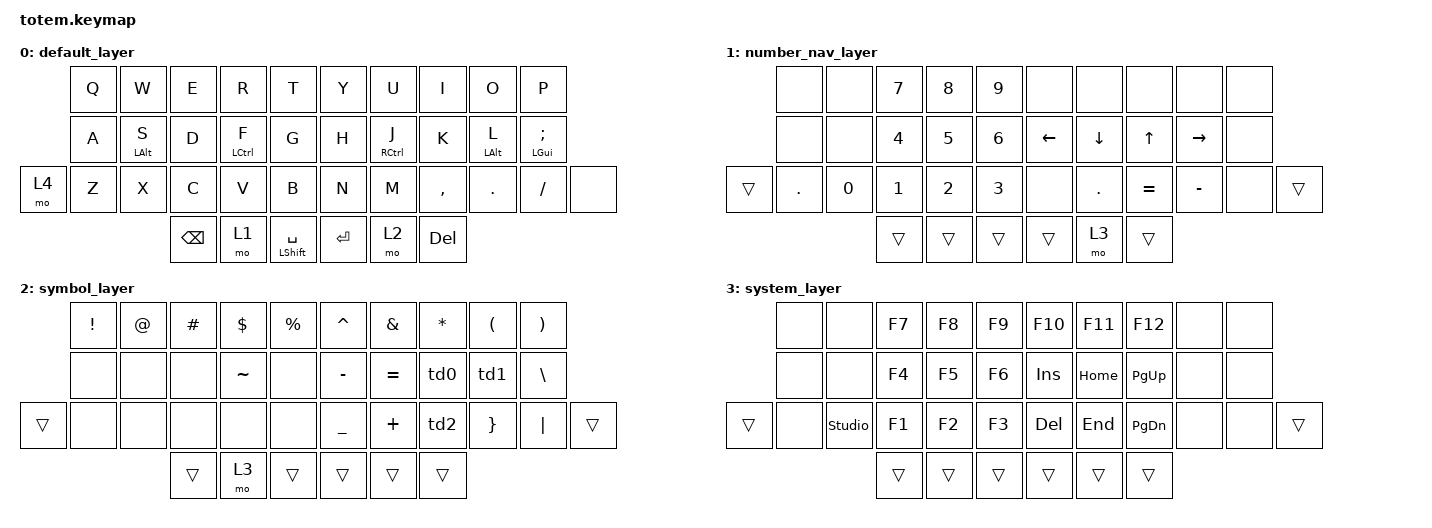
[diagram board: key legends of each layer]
//
//                                                        ▀▀▀▀▀     ▀▀▀▀▀          ▀▀█▀▀
//                                                        ▄▀▀▀▄  ▄  ▄▀▀▀▄  ▄  ▄▀▀▀▄  █  ▄▀▀▀▄
//                                                        █   █  █  █   █  █  █   █  █  █   █
//                                                         ▀▀▀   █   ▀▀▀   █   ▀▀▀   ▀   ▀▀▀
//                                                               █      ▄▄▄█▄▄▄    █   █  
//                                                               ▀      █  █  █     █▄█
//                                                             ▀▀▀▀▀    █  █  █      ▀
//                                                                      ▀  ▀  ▀
//
// ▄▄▄▄▄▄▄▄▄▄▄▄▄▄▄▄▄▄▄▄▄▄▄▄▄▄▄▄▄▄▄▄▄▄▄▄▄▄▄▄▄▄▄▄▄▄▄▄▄▄▄▄▄▄▄▄▄▄▄▄▄▄▄▄▄▄▄▄▄▄▄▄▄▄▄▄▄▄▄▄▄▄▄▄▄▄▄▄▄▄▄▄▄▄▄▄▄▄▄▄▄▄▄▄▄▄▄▄▄▄▄▄▄▄▄▄▄▄▄▄▄▄▄▄▄▄▄▄▄▄▄▄▄▄▄▄▄▄▄▄▄▄▄▄▄▄▄▄▄
       

#include <behaviors.dtsi>
#include <dt-bindings/zmk/keys.h>
#include <dt-bindings/zmk/bt.h>


/ {
        combos {
                compatible = "zmk,combos";
                combo_esc {
                        timeout-ms = <50>;
                        key-positions = <16 17>;
                        bindings = <&kp ESC>;
                };
                combo_tab {
                        timeout-ms = <50>;
                        key-positions = <10 11>;
                        bindings = <&kp TAB>;
                };
        };
        behaviors {
                td0: open_parent_mod_tap {
                        compatible = "zmk,behavior-tap-dance";
                        #binding-cells = <0>;
                        tapping-term-ms = <400>;
                        bindings = <&kp LPAR>, <&kp LBKT>, <&kp LBRC>;
                };
                td1: close_parent_mod_tap {
                        compatible = "zmk,behavior-tap-dance";
                        #binding-cells = <0>;
                        tapping-term-ms = <400>;
                        bindings = <&kp RPAR>, <&kp RBKT>, <&kp RBRC>;
                };
                td2: quote_mod_tap {
                        compatible = "zmk,behavior-tap-dance";
                        #binding-cells = <0>;
                        tapping-term-ms = <400>;
                        bindings = <&kp SINGLE_QUOTE>, <&kp DQT>, <&kp GRAV>;
                };
                ht_hp: hold_tap_hp {
                        compatible = "zmk,behavior-hold-tap";
                        #binding-cells = <2>;
                        flavor = "hold-preferred";
                        tapping-term-ms = <200>;
                        quick-tap-ms = <50>;
                        require-prior-idle-ms = <0>;
                        bindings = <&kp>, <&kp>;
                };
                ht_tp: hold_tap_tp {
                        compatible = "zmk,behavior-hold-tap";
                        #binding-cells = <2>;
                        flavor = "tap-preferred";
                        tapping-term-ms = <200>;
                        quick-tap-ms = <50>;
                        require-prior-idle-ms = <0>;
                        bindings = <&kp>, <&kp>;
                };
                ht_tp_ret: retro_hold_tap {
                        compatible = "zmk,behavior-hold-tap";
                        #binding-cells = <2>;
                        flavor = "tap-preferred";
                        tapping-term-ms = <200>;
                        quick-tap-ms = <50>;
                        require-prior-idle-ms = <0>;
                        bindings = <&kp>, <&kp>;
                        retro-tap;
                };
        };
        
        keymap {
                compatible = "zmk,keymap";

                default_layer {
// -----------------------------------------------------------------------------------------
// |      |  Q  |  W  |  E  |  R  |  T  |   |  Y  |  U   |  I  |  O  |  P  |      |
// |      |  A  |  S  |  D  |  F  |  G  |   |  H  |  J   |  K  |  L  |  ;  |      |
// |      |  Z  |  X  |  C  |  V  |  B  |   |  N  |  M   |  ,  |  .  |  /  |      |
//                    | GUI | LWR | SPC |   | ENT | RSE  | ALT |
                        bindings = <
             &kp Q   &kp W         &kp E    &kp R          &kp T                 &kp Y   &kp U          &kp I     &kp O          &kp P                  
             &kp A   &ht_tp LALT S &kp D    &ht_tp LCTRL F &kp G                 &kp H   &ht_tp RCTRL J &kp K     &ht_tp LALT L  &ht_tp LGUI SEMI   
   &mo 4     &kp Z   &kp X         &kp C    &kp V          &kp B                 &kp N   &kp M          &kp COMMA &kp DOT        &kp FSLH              &none
                                   &kp BSPC &mo 1          &ht_hp LSHIFT SPC     &kp RET &mo 2          &kp DEL
                        >;
                };
                number_nav_layer {
// -----------------------------------------------------------------------------------------
// |      |  1  |  2  |  3  |  4  |  5  |   |  6  |  7  |  8  |  9  |  0  |      |
// |      | BT1 | BT2 | BT3 | BT4 | BT5 |   | LFT | DWN |  UP | RGT |     |      |
// |      |     |     |     |     |     |   |     |     |     |     |     |      |
//                    | GUI |     | SPC |   | ENT |     | ALT |
                        bindings = <
              &none      &none       &kp N7       &kp N8       &kp N9         &none    &none    &none      &none     &none  
              &none      &none       &kp N4       &kp N5       &kp N6         &kp LEFT &kp DOWN &kp UP     &kp RIGHT &none  
   &trans     &kp DOT    &kp N0      &kp N1       &kp N2       &kp N3         &none    &kp DOT  &kp EQUAL  &kp MINUS &none &trans
                                     &trans       &trans       &trans         &trans   &mo 3    &trans
                        >;
                };

                symbol_layer {
// -----------------------------------------------------------------------------------------
// |      |  !  |  @  |  #  |  $  |  %  |   |  ^  |  &  |  *  |  (  |  )  |      |
// |      |     |     |     |     |     |   |  -  |  =  |  [  |  ]  |  \  |      |
// |      |     |     |     |     |     |   |  _  |  +  |  {  |  }  | "|" |      |
//                    | GUI |     | SPC |   | ENT |     | ALT |
                        bindings = <
            &kp EXCL  &kp AT     &kp HASH   &kp DLLR   &kp PRCNT       &kp CARET &kp AMPS  &kp ASTRK &kp LPAR &kp RPAR  
            &none     &none      &none      &kp TILDE  &none           &kp MINUS &kp EQUAL &td0      &td1     &kp BSLH  
   &trans   &none     &none      &none      &none      &none           &kp UNDER &kp PLUS  &td2      &kp RBRC &kp PIPE &trans
                                 &trans     &mo 3      &trans          &trans    &trans    &trans
                        >;
                };

                system_layer {
                        bindings = <
            &none     &none              &kp F7     &kp F8  &kp F9      &kp F10  &kp F11  &kp F12    &none &none   
            &none     &none              &kp F4     &kp F5  &kp F6      &kp INS  &kp HOME &kp PG_UP  &none &none   
   &trans   &none     &studio_unlock     &kp F1     &kp F2  &kp F3      &kp DEL  &kp END  &kp PG_DN  &none &none  &trans
                                         &trans     &trans  &trans      &trans  &trans &trans
                        >;
                };
        };
        
};
